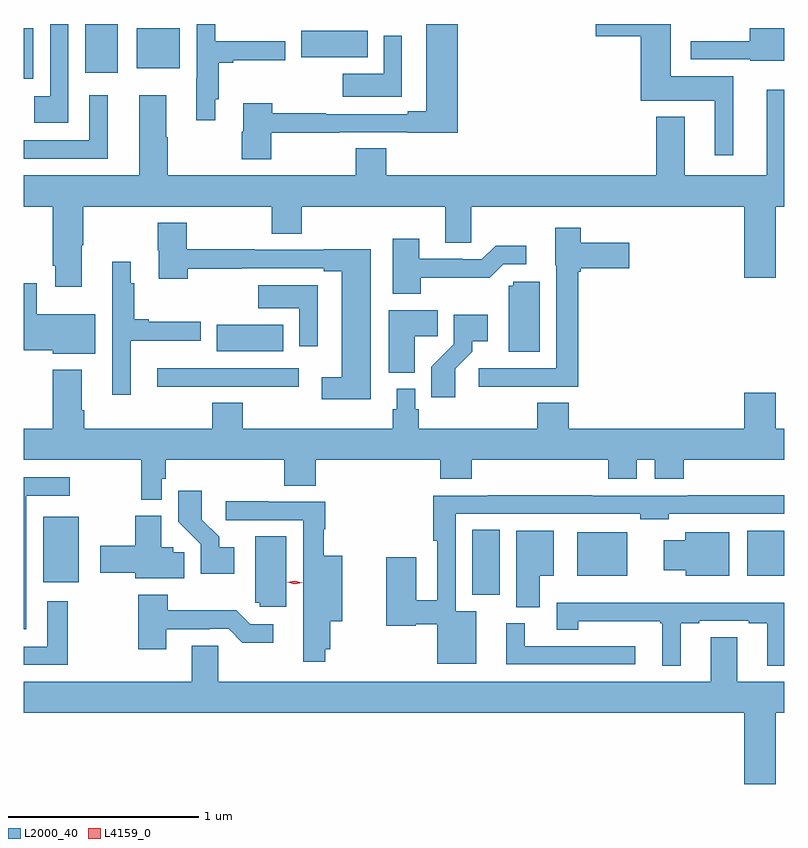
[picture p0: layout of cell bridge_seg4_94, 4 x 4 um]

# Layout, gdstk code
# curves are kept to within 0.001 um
import gdstk
lib = gdstk.Library(unit=1e-6, precision=1e-09)
def R(c, l, rs):  # rectangles x0, y0, x1, y1
    for r in rs: c.add(gdstk.rectangle(r[:2], r[2:], *l))
def P(c, l, *ps):  # polygons
    for p in ps: c.add(gdstk.Polygon(p, *l))
L2000_40 = (2000, 40)
L4159_0 = (4159, 0)

bridge_seg4_94 = lib.new_cell('bridge_seg4_94')
R(bridge_seg4_94, L2000_40, [(439.301,789.449,439.444,789.791), (437.042,789.515,437.23,789.859), (439.853,789.551,440.116,789.778), (440.747,789.551,440.941,789.787), (437.956,790.73,438.305,790.87), (436.941,792.164,436.99,792.43), (437.264,792.197,437.434,792.453), (437.534,792.221,437.761,792.43), (438.4,792.278,438.749,792.418)])
P(bridge_seg4_94, L2000_40, [(437.947,792.058),(437.966,792.058),(437.966,792.248),(438.043,792.248),(438.043,792.262),(438.315,792.262),(438.315,792.361),(437.947,792.361),(437.947,792.453),(437.85,792.453),(437.85,792.167),(437.849,792.167),(437.849,791.946),(437.947,791.946)],
  [(438.243,791.881),(438.599,791.881),(438.599,791.883),(438.962,791.883),(438.962,791.881),(439.223,791.881),(439.223,792.453),(439.058,792.453),(439.058,791.995),(438.962,791.995),(438.962,791.979),(438.53,791.979),(438.53,791.984),(438.248,791.984),(438.248,792.037),(438.095,792.037),(438.095,791.886),(438.088,791.886),(438.088,791.742),(438.243,791.742)],
  [(437.175,792.453),(437.079,792.453),(437.079,792.073),(436.995,792.073),(436.995,791.933),(437.175,791.933)],
  [(440.674,792.178),(440.344,792.178),(440.344,792.453),(439.95,792.453),(439.95,792.389),(440.186,792.389),(440.186,792.05),(440.576,792.05),(440.576,791.763),(440.674,791.763)],
  [(440.941,792.43),(440.759,792.43),(440.759,792.363),(440.451,792.363),(440.451,792.267),(440.763,792.267),(440.763,792.26),(440.941,792.26)],
  [(438.93,792.391),(438.834,792.391),(438.834,792.19),(438.618,792.19),(438.618,792.069),(438.93,792.069)],
  [(437.245,791.29),(437.253,791.29),(437.253,791.492),(438.244,791.492),(438.244,791.35),(438.404,791.35),(438.404,791.492),(439.157,791.492),(439.157,791.302),(439.296,791.302),(439.296,791.492),(440.732,791.492),(440.732,791.118),(440.896,791.118),(440.896,791.492),(440.941,791.492),(440.941,792.106),(440.849,792.106),(440.849,791.656),(440.419,791.656),(440.419,791.965),(440.267,791.965),(440.267,791.656),(438.848,791.656),(438.848,791.798),(438.688,791.798),(438.688,791.656),(437.697,791.656),(437.697,791.858),(437.689,791.858),(437.689,792.079),(437.549,792.079),(437.549,791.656),(436.941,791.656),(436.941,791.492),(437.093,791.492),(437.093,791.182),(437.105,791.182),(437.105,791.07),(437.245,791.07)],
  [(437.383,792.079),(437.286,792.079),(437.286,791.841),(436.941,791.841),(436.941,791.745),(437.383,791.745)],
  [(438.766,791.268),(438.518,791.268),(438.518,791.265),(438.155,791.265),(438.155,791.268),(437.799,791.268),(437.799,791.407),(437.644,791.407),(437.644,791.262),(437.651,791.262),(437.651,791.112),(437.804,791.112),(437.804,791.164),(438.086,791.164),(438.086,791.169),(438.518,791.169),(438.518,791.153),(438.614,791.153),(438.614,790.595),(438.507,790.595),(438.507,790.478),(438.766,790.478)],
  [(439.559,790.545),(439.859,790.545),(439.859,791.15),(439.872,791.15),(439.872,791.168),(440.125,791.168),(440.125,791.302),(439.872,791.302),(439.872,791.38),(439.736,791.38),(439.736,791.184),(439.743,791.184),(439.743,790.641),(439.335,790.641),(439.335,790.543),(439.559,790.543)],
  [(439.029,791.118),(439.391,791.117),(439.464,791.19),(439.585,791.19),(439.585,791.287),(439.423,791.287),(439.35,791.214),(439.25,791.214),(439.25,791.217),(439.021,791.217),(439.021,791.323),(438.881,791.323),(438.881,791.033),(439.029,791.033)],
  [(437.503,790.787),(437.871,790.787),(437.871,790.887),(437.599,790.887),(437.599,790.9),(437.522,790.9),(437.522,791.09),(437.503,791.09),(437.503,791.203),(437.405,791.203),(437.405,790.981),(437.406,790.981),(437.406,790.503),(437.503,790.503)],
  [(439.654,791.097),(439.515,791.097),(439.515,791.076),(439.493,791.076),(439.493,790.728),(439.654,790.728)],
  [(437.317,790.927),(437.008,790.927),(437.008,791.089),(436.941,791.089),(436.941,790.736),(437.094,790.736),(437.094,790.718),(437.317,790.718)],
  [(438.486,791.079),(438.174,791.079),(438.174,790.958),(438.39,790.958),(438.39,790.758),(438.486,790.758)],
  [(438.997,790.81),(439.118,790.81),(439.118,790.948),(438.86,790.948),(438.86,790.619),(438.997,790.619)],
  [(439.21,790.639),(439.3,790.729),(439.3,790.784),(439.381,790.784),(439.381,790.924),(439.203,790.924),(439.203,790.769),(439.084,790.65),(439.084,790.488),(439.21,790.488)],
  [(438.388,790.641),(437.862,790.641),(437.862,790.642),(437.643,790.642),(437.643,790.545),(438.388,790.545)],
  [(438.311,790.024),(438.476,790.024),(438.476,790.16),(439.133,790.16),(439.133,790.061),(439.298,790.061),(439.298,790.16),(440.015,790.16),(440.015,790.061),(440.167,790.061),(440.167,790.16),(440.261,790.16),(440.261,790.061),(440.414,790.061),(440.414,790.16),(440.941,790.16),(440.941,790.324),(440.896,790.324),(440.896,790.513),(440.732,790.513),(440.732,790.324),(439.808,790.324),(439.808,790.46),(439.643,790.46),(439.643,790.324),(439.019,790.324),(439.019,790.425),(438.999,790.425),(438.999,790.534),(438.902,790.534),(438.902,790.425),(438.883,790.425),(438.883,790.324),(438.093,790.324),(438.093,790.46),(437.933,790.46),(437.933,790.324),(437.258,790.324),(437.258,790.42),(437.245,790.42),(437.245,790.633),(437.093,790.633),(437.093,790.324),(436.941,790.324),(436.941,790.16),(437.559,790.16),(437.559,789.95),(437.667,789.95),(437.667,790.059),(437.687,790.059),(437.687,790.16),(438.311,790.16)],
  [(436.953,789.972),(437.182,789.972),(437.182,790.068),(436.941,790.068),(436.941,789.269),(436.953,789.269)],
  [(438.049,789.7),(437.968,789.7),(437.968,789.755),(437.878,789.845),(437.878,789.997),(437.752,789.997),(437.752,789.834),(437.871,789.715),(437.871,789.56),(438.049,789.56)],
  [(439.321,789.364),(439.212,789.364),(439.212,789.876),(440.184,789.876),(440.184,789.848),(440.334,789.848),(440.334,789.876),(440.941,789.876),(440.941,789.974),(440.434,789.974),(440.434,789.972),(439.931,789.972),(439.931,789.974),(439.381,789.974),(439.381,789.972),(439.096,789.972),(439.096,789.733),(439.116,789.733),(439.116,789.422),(439.006,789.422),(439.006,789.646),(438.848,789.646),(438.848,789.286),(439.002,789.286),(439.002,789.294),(439.115,789.294),(439.115,789.086),(439.321,789.086)],
  [(438.527,789.164),(438.552,789.164),(438.552,789.311),(438.616,789.311),(438.616,789.655),(438.52,789.655),(438.52,789.794),(438.527,789.794),(438.527,789.939),(438.227,789.939),(438.227,789.942),(438.003,789.942),(438.003,789.843),(438.411,789.843),(438.411,789.096),(438.527,789.096)],
  [(437.786,789.674),(437.727,789.674),(437.727,789.699),(437.665,789.699),(437.665,789.865),(437.528,789.865),(437.528,789.708),(437.343,789.708),(437.343,789.566),(437.528,789.566),(437.528,789.536),(437.786,789.536)],
  [(439.654,789.551),(439.729,789.551),(439.729,789.787),(439.532,789.787),(439.532,789.385),(439.654,789.385)],
  [(440.653,789.778),(440.42,789.778),(440.42,789.736),(440.309,789.736),(440.309,789.578),(440.424,789.578),(440.424,789.551),(440.653,789.551)],
  [(438.322,789.757),(438.158,789.757),(438.158,789.408),(438.183,789.408),(438.183,789.387),(438.322,789.387)],
  [(437.689,789.267),(437.918,789.267),(437.918,789.27),(438.018,789.27),(438.091,789.197),(438.253,789.197),(438.253,789.294),(438.132,789.294),(438.059,789.367),(437.697,789.367),(437.697,789.451),(437.542,789.451),(437.542,789.162),(437.689,789.162)],
  [(437.173,789.415),(437.064,789.415),(437.064,789.177),(436.941,789.177),(436.941,789.081),(437.173,789.081)],
  [(440.398,789.3),(440.494,789.3),(440.494,789.312),(440.756,789.312),(440.756,789.3),(440.852,789.3),(440.852,789.077),(440.941,789.077),(440.941,789.409),(439.746,789.409),(439.746,789.265),(439.859,789.265),(439.859,789.311),(440.289,789.311),(440.289,789.3),(440.3,789.3),(440.3,789.077),(440.398,789.077)],
  [(440.158,789.18),(439.576,789.18),(439.576,789.3),(439.478,789.3),(439.478,789.084),(440.158,789.084)],
  [(440.896,788.828),(440.941,788.828),(440.941,788.992),(440.695,788.992),(440.695,789.227),(440.555,789.227),(440.555,788.992),(437.964,788.992),(437.964,789.182),(437.825,789.182),(437.825,788.992),(436.941,788.992),(436.941,788.828),(440.732,788.828),(440.732,788.454),(440.896,788.454)])
P(bridge_seg4_94, L4159_0, [(438.365,789.504),(438.326,789.515),(438.326,789.515),(438.326,789.515),(438.366,789.524),(438.406,789.514),(438.406,789.514),(438.406,789.513)])

lib.write_gds('bridge_seg4_94.gds')
